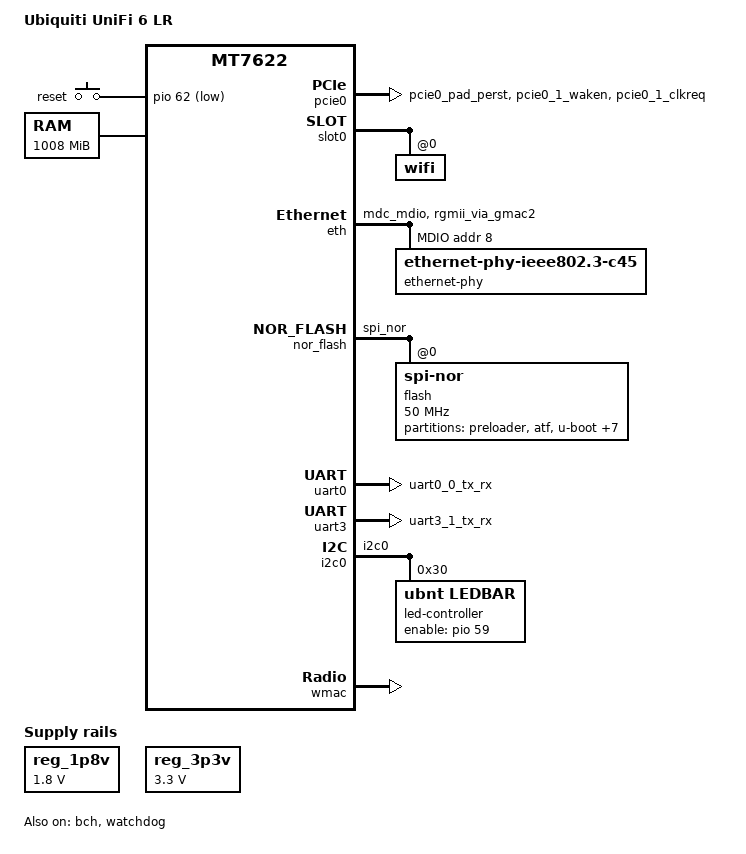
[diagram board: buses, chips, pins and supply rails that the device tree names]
// SPDX-License-Identifier: GPL-2.0-or-later OR MIT

/dts-v1/;
#include <dt-bindings/input/input.h>
#include <dt-bindings/gpio/gpio.h>
#include <dt-bindings/leds/common.h>

#include "mt7622.dtsi"
#include "mt6380.dtsi"

/ {
	model = "Ubiquiti UniFi 6 LR";
	compatible = "ubnt,unifi-6-lr", "mediatek,mt7622";

	aliases {
		led-boot = &led_blue;
		led-failsafe = &led_blue;
		led-running = &led_blue;
		led-upgrade = &led_blue;
		label-mac-device = &gmac0;
		serial0 = &uart0;
	};

	chosen {
		stdout-path = "serial0:115200n8";
		bootargs = "earlycon=uart8250,mmio32,0x11002000 swiotlb=512 console=ttyS0,115200n8";
	};

	cpus {
		cpu@0 {
			proc-supply = <&mt6380_vcpu_reg>;
			sram-supply = <&mt6380_vm_reg>;
		};

		cpu@1 {
			proc-supply = <&mt6380_vcpu_reg>;
			sram-supply = <&mt6380_vm_reg>;
		};
	};

	gpio-keys {
		compatible = "gpio-keys";

		reset {
			label = "reset";
			linux,code = <KEY_RESTART>;
			gpios = <&pio 62 GPIO_ACTIVE_LOW>;
		};
	};

	memory {
		reg = <0 0x40000000 0 0x3f000000>;
	};

	reg_1p8v: regulator-1p8v {
		compatible = "regulator-fixed";
		regulator-name = "fixed-1.8V";
		regulator-min-microvolt = <1800000>;
		regulator-max-microvolt = <1800000>;
		regulator-always-on;
	};

	reg_3p3v: regulator-3p3v {
		compatible = "regulator-fixed";
		regulator-name = "fixed-3.3V";
		regulator-min-microvolt = <3300000>;
		regulator-max-microvolt = <3300000>;
		regulator-boot-on;
		regulator-always-on;
	};
};

&pcie0 {
	pinctrl-names = "default";
	pinctrl-0 = <&pcie0_pins>;
	status = "okay";
};

&slot0 {
	wifi@0,0 {
		reg = <0x0 0 0 0 0>;
		mediatek,mtd-eeprom = <&factory 0x20000>;
		mtd-mac-address = <&eeprom 0x6>;
		ieee80211-freq-limit = <5000000 6000000>;
	};
};

&pio {
	eth_pins: eth-pins {
		mux {
			function = "eth";
			groups = "mdc_mdio", "rgmii_via_gmac2";
		};
	};

	pcie0_pins: pcie0-pins {
		mux {
			function = "pcie";
			groups = "pcie0_pad_perst",
				 "pcie0_1_waken",
				 "pcie0_1_clkreq";
		};
	};

	pcie1_pins: pcie1-pins {
		mux {
			function = "pcie";
			groups = "pcie1_pad_perst",
				 "pcie1_0_waken",
				 "pcie1_0_clkreq";
		};
	};

	pmic_bus_pins: pmic-bus-pins {
		mux {
			function = "pmic";
			groups = "pmic_bus";
		};
	};

	spi_nor_pins: spi-nor-pins {
		mux {
			function = "flash";
			groups = "spi_nor";
		};
	};

	uart0_pins: uart0-pins {
		mux {
			function = "uart";
			groups = "uart0_0_tx_rx" ;
		};
	};

	uart3_pins: uart3-pins {
		mux {
			function = "uart";
			groups = "uart3_1_tx_rx" ;
		};
	};

	i2c0_pins: i2c0-pins {
		mux {
			function = "i2c";
			groups =  "i2c0";
		};
	};

	watchdog_pins: watchdog-pins {
		mux {
			function = "watchdog";
			groups = "watchdog";
		};
	};
};

&bch {
	status = "okay";
};

&btif {
	status = "disabled";
};

&eth {
	status = "okay";
	pinctrl-names = "default";
	pinctrl-0 = <&eth_pins>;

	gmac0: mac@0 {
		compatible = "mediatek,eth-mac";
		reg = <0>;

		phy-mode = "2500base-x";
		mtd-mac-address = <&eeprom 0x0>;

		fixed-link {
			speed = <2500>;
			full-duplex;
		};
	};

	mdio: mdio-bus {
		#address-cells = <1>;
		#size-cells = <0>;

		ethernet-phy@8 {
			/* Marvell AQRate AQR112W - no driver */
			compatible = "ethernet-phy-ieee802.3-c45";
			reg = <0x8>;
		};
	};
};

&pwrap {
	pinctrl-names = "default";
	pinctrl-0 = <&pmic_bus_pins>;

	status = "okay";
};

&nor_flash {
	pinctrl-names = "default";
	pinctrl-0 = <&spi_nor_pins>;

	status = "okay";

	flash@0 {
		compatible = "jedec,spi-nor";
		reg = <0>;
		spi-max-frequency = <50000000>;

		partitions {
			compatible = "fixed-partitions";
			#address-cells = <1>;
			#size-cells = <1>;

			partition@0 {
				label = "preloader";
				reg = <0x0 0x40000>;
				read-only;
			};

			partition@40000 {
				label = "atf";
				reg = <0x40000 0x20000>;
				read-only;
			};

			partition@60000 {
				label = "u-boot";
				reg = <0x60000 0x60000>;
				read-only;
			};

			partition@c0000 {
				label = "u-boot-env";
				reg = <0xc0000 0x10000>;
			};

			factory: partition@d0000 {
				label = "factory";
				reg = <0xd0000 0x40000>;
				read-only;
			};

			eeprom: partition@110000 {
				label = "eeprom";
				reg = <0x110000 0x10000>;
				read-only;
			};

			partition@120000 {
				label = "bs";
				reg = <0x120000 0x10000>;
			};

			partition@130000 {
				label = "cfg";
				reg = <0x130000 0x100000>;
				read-only;
			};

			partition@230000 {
				compatible = "denx,fit";
				label = "firmware";
				reg = <0x230000 0x1ee0000>;
			};

			partition@2110000 {
				label = "kernel1";
				reg = <0x2110000 0x1ee0000>;
			};
		};
	};
};

&uart0 {
	pinctrl-names = "default";
	pinctrl-0 = <&uart0_pins>;
	status = "okay";
};

&uart3 {
	pinctrl-names = "default";
	pinctrl-0 = <&uart3_pins>;
	status = "okay";

	/* MT7915 Bluetooth */
};

&i2c0 {
	pinctrl-names = "default";
	pinctrl-0 = <&i2c0_pins>;
	status = "okay";

	led-controller@30 {
		compatible = "ubnt,ledbar";
		reg = <0x30>;

		enable-gpio = <&pio 59 0>;

		red {
			label = "red";
		};

		green {
			label = "green";
		};

		led_blue: blue {
			label = "blue";
		};
	};
};

&watchdog {
	pinctrl-names = "default";
	pinctrl-0 = <&watchdog_pins>;
	status = "okay";
};

&wmac {
	mediatek,mtd-eeprom = <&factory 0x0>;
	mtd-mac-address = <&eeprom 0x0>;
	status = "okay";
};
